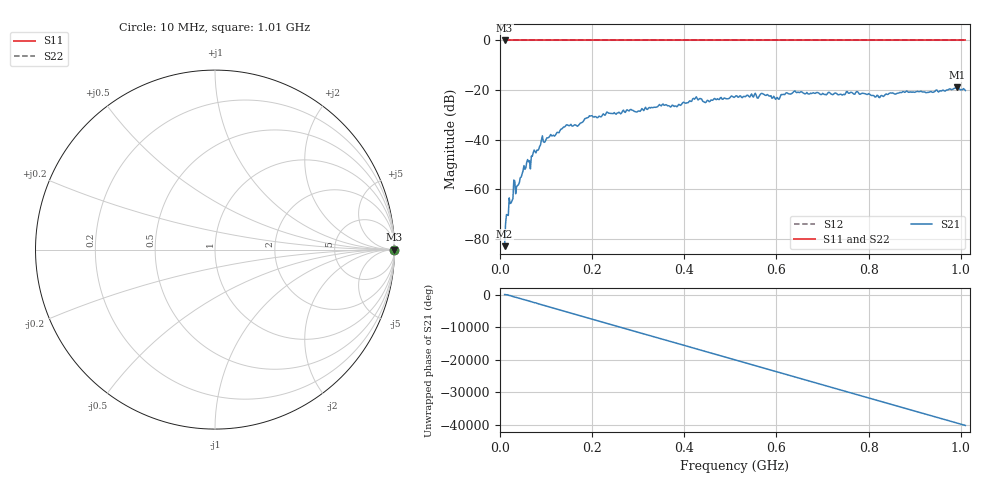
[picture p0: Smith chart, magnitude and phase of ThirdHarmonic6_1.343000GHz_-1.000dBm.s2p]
! 8/16/2025 3:04:58 PM
! C:\ANRITSUVNA\TEMP\TEMP.S2P
! CHANNEL.1
! TR.MEASUREMENT
! RAW.DATA
! RF.CORRECTION.OFF
! AVERAGING.OFF
! IF.BANDWIDTH: 5KHZ
! SWEEPTYPE:  FREQ.SWEEP(Linear)
! Reference Plane Port Info
! PORT:  PORT1  PORT2
! DISTANCE:  0  m  0  m
! TIME:  0  s  0  s
! PHASE.OFFSET:  0  deg.  0  deg.
! LOSS:  0  dB  0  dB
! REF.LOSS:  0  dB  0  dB
! REF.FREQ:  0  Hz  0  Hz
! Power Info
! POWER:  -20  dBm  -20  dBm
! EFF.POWER:  -20  dBm  -20  dBm
! SOURCE.ATTEN:  0  dB  0  dB
! TEST.ATTEN:  0  dB  0  dB
# GHZ S RI R 50.0
! FREQ.GHZ  S11RE  S11IM  S21RE  S21IM  S12RE  S12IM  S22RE  S22IM
!; PortSelection: Port_12
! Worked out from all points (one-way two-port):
!   501 points, 10 MHz to 1.01 GHz, reference 50 ohm
!   highest |S21| = -18.91 dB at 992 MHz (marker M1); lowest = -83.0 dB at 10 MHz (marker M2)
!   lowest |S11| = 0.0 dB at 10 MHz (marker M3)
!   |S11| at or under -10 dB: nowhere
!   |S22| runs from 0.0 to 0.0 dB; largest |S21 - S12| = 1.1
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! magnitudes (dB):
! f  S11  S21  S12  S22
! 10 MHz  0.0  -83.0  0.0  0.0
! 18 MHz  0.0  -70.6  0.0  0.0
! 34 MHz  0.0  -61.8  0.0  0.0
! 38 MHz  0.0  -58.5  0.0  0.0
! 56 MHz  0.0  -51.3  0.0  0.0
! 90 MHz  0.0  -40.1  0.0  0.0
! 142 MHz  0.0  -34.5  0.0  0.0
! 178 MHz  0.0  -33.1  0.0  0.0
! 196 MHz  0.0  -30.5  0.0  0.0
! 344 MHz  0.0  -26.3  0.0  0.0
! 382 MHz  0.0  -26.5  0.0  0.0
! 422 MHz  0.0  -23.7  0.0  0.0
! 444 MHz  0.0  -24.9  0.0  0.0
! 510 MHz  0.0  -22.7  0.0  0.0
! 570 MHz  0.0  -21.5  0.0  0.0
! 602 MHz  0.0  -23.0  0.0  0.0
! 638 MHz  0.0  -20.5  0.0  0.0
! 678 MHz  0.0  -21.2  0.0  0.0
! 820 MHz  0.0  -22.2  0.0  0.0
! 844 MHz  0.0  -21.4  0.0  0.0
! 992 MHz  0.0  -18.9  0.0  0.0
! 1.01 GHz  0.0  -20.2  0.0  0.0
